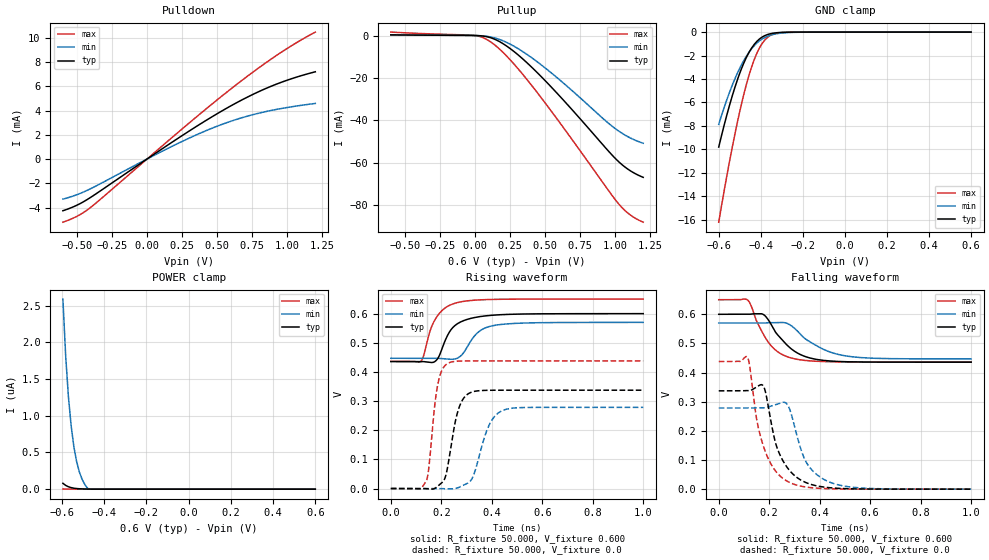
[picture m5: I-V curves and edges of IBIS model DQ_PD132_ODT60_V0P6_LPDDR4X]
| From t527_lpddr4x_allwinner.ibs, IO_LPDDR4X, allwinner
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|   Model DQ_PD132_ODT60_V0P6_LPDDR4X
[Model] DQ_PD132_ODT60_V0P6_LPDDR4X
Model_type I/O
Polarity   Non-Inverting
Enable   Active-Low
Vinl =  0.300V
Vinh =  0.300V
C_comp   1.467pF   1.426pF   1.522pF
C_comp_pulldown   0.762pF   0.731pF   0.798pF
[Model Spec]
Vinh   0.300V   0.285V   0.325V
Vinl   0.300V   0.285V   0.325V
[Temperature Range]   25.000   0.125k   -40.000
[Voltage Range]   0.600V   0.570V   0.650V
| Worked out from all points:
|   slope of the pulldown table from 0 to 0.09 V, typ, clamps not added: 128 ohm
|   slope of the pullup table from 0 to 0.09 V, typ, clamps not added: 138 ohm
|   GND clamp passes 1 mA (typ) near -0.43 V on its own axis
|   rising waveform, R_fixture 50.000, V_fixture 0.600: 20-80 % time 69ps typ, 68.1ps min, 62ps max; typ from 0.436 V to 0.6 V
|   rising waveform, R_fixture 50.000, V_fixture 0.0: 20-80 % time 43.6ps typ, 60.5ps min, 31.9ps max; typ from 0 V to 0.337 V
|   falling waveform, R_fixture 50.000, V_fixture 0.600: 20-80 % time 102ps typ, 129ps min, 84.9ps max; typ from 0.6 V to 0.436 V
|   falling waveform, R_fixture 50.000, V_fixture 0.0: 20-80 % time 78.3ps typ, 82.7ps min, 73ps max; typ from 0.337 V to 0 V
[Pulldown]
|Voltage   I(typ)   I(min)   I(max)
-600mV    -4.265mA   -3.308mA   -5.211mA
-486mV    -3.729mA   -2.88mA    -4.641mA
-391mV    -3.079mA   -2.384mA   -3.889mA
179mV     1.39mA     1.051mA    1.78mA
369mV     2.81mA     2.08mA     3.634mA
521mV     3.878mA    2.799mA    5.073mA
692mV     4.967mA    3.458mA    6.62mA
863mV     5.895mA    3.952mA    8.065mA
1.034V    6.636mA    4.314mA    9.37mA
1.2V      7.196mA    4.583mA    10.47mA
[Pullup]
|Voltage   I(typ)   I(min)   I(max)
-600mV    307.6uA    240.7uA    1.617mA
3mV       -5.669uA   -5.189uA   -28uA
60mV      -277.8uA   -203.6uA   -1.082mA
136mV     -1.634mA   -1.049mA   -4.186mA
193mV     -3.566mA   -2.301mA   -7.507mA
269mV     -7.071mA   -4.717mA   -12.78mA
440mV     -17.26mA   -12.22mA   -26.59mA
630mV     -30.47mA   -22.42mA   -43.44mA
934mV     -53.26mA   -40.42mA   -71.52mA
1.029V    -59.87mA   -45.33mA   -79.87mA
1.105V    -63.78mA   -48.3mA    -84.65mA
1.2V      -67.02mA   -50.92mA   -88.2mA
[GND_clamp]
|Voltage   I(typ)   I(min)   I(max)
-600mV    -9.815mA   -7.875mA   -16.22mA
-561mV    -7.046mA   -5.746mA   -12.23mA
-535mV    -5.403mA   -4.507mA   -9.766mA
-496mV    -3.316mA   -2.935mA   -6.457mA
-470mV    -2.216mA   -2.096mA   -4.569mA
-444mV    -1.371mA   -1.428mA   -2.993mA
-418mV    -778.9uA   -926.6uA   -1.774mA
-392mV    -406.1uA   -573.1uA   -928uA
-366mV    -197uA     -340uA     -421.7uA
-327mV    -60.99uA   -147uA     -102.9uA
-275mV    -11.95uA   -46.19uA   -12.78uA
600mV     -16.32nA   -580.9nA   -530.8pA
[POWER_clamp]
|Voltage   I(typ)   I(min)   I(max)
-596mV    80.11nA    2.59uA     2.718nA
-583mV    51.54nA    1.823uA    1.849nA
-570mV    33.02nA    1.267uA    1.347nA
-557mV    21.05nA    865.5nA    1.054nA
-544mV    13.37nA    578.4nA    882.1pA
-531mV    8.471nA    375.5nA    779.4pA
-518mV    5.383nA    233.4nA    714.2pA
-505mV    3.418nA    134nA      667.8pA
-492mV    2.102nA    63.17nA    630.5pA
-479mV    1.14nA     10.45nA    598.7pA
-466mV    372.9pA    0A         570.6pA
600mV     0A         0A         0A
[Ramp]
| variable   typ   min   max
dV/dt_r   0.202/43.840p   0.167/60.678p   0.263/32.072p
dV/dt_f   98.602m/0.103n   73.831m/0.129n   0.128/85.041p
R_load = 50.000
[Rising Waveform]
R_fixture= 50.000
V_fixture= 0.600
V_fixture_min= 0.570
V_fixture_max= 0.650
|time   V(typ)   V(min)   V(max)
0s        435.6mV    446.9mV    436.2mV
118ps     435.5mV    446.9mV    435.9mV
130ps     435.4mV    447mV      455.5mV
158ps     432.6mV    446.7mV    547.1mV
179ps     438.8mV    446.7mV    584.7mV
230ps     533.7mV    443.9mV    627.3mV
264ps     565.4mV    447.4mV    638mV
344ps     588.6mV    534.6mV    646.9mV
407ps     594.8mV    559.2mV    648.9mV
1ns       599.9mV    570mV      650mV
[Rising Waveform]
R_fixture= 50.000
V_fixture= 0.0
V_fixture_min= 0.0
V_fixture_max= 0.0
|time   V(typ)   V(min)   V(max)
0s        3.206uV    75.67uV    235.5nV
141ps     -692.3uV   185.5uV    27.26mV
185ps     7.298mV    246.5uV    352.4mV
213ps     32.42mV    -747.3uV   420.3mV
228ps     88.07mV    -1.24mV    430.5mV
269ps     274.2mV    3.776mV    437.1mV
319ps     330.4mV    30.23mV    437.8mV
388ps     337.1mV    214.7mV    437.9mV
443ps     337.3mV    267.8mV    437.9mV
1ns       337.3mV    278.4mV    437.9mV
[Falling Waveform]
R_fixture= 50.000
V_fixture= 0.600
V_fixture_min= 0.570
V_fixture_max= 0.650
|time   V(typ)   V(min)   V(max)
0s        600mV      570mV      650mV
114ps     600.1mV    570mV      649.3mV
173ps     600.9mV    570.1mV    537.6mV
200ps     576.3mV    571.1mV    500.1mV
230ps     533mV      571.4mV    473.8mV
293ps     477.6mV    557.2mV    448.7mV
342ps     455.2mV    516.5mV    441.7mV
392ps     444.6mV    490mV      438.6mV
498ps     437.4mV    458mV      436.6mV
1ns       435.7mV    447mV      436.2mV
[Falling Waveform]
R_fixture= 50.000
V_fixture= 0.0
V_fixture_min= 0.0
V_fixture_max= 0.0
|time   V(typ)   V(min)   V(max)
0s        337.3mV    278.4mV    437.9mV
114ps     338.2mV    278.4mV    452.2mV
123ps     337.9mV    278.4mV    420.2mV
150ps     350.4mV    278.9mV    240.8mV
175ps     355.9mV    279.1mV    153mV
227ps     153mV      290.3mV    60.2mV
277ps     67.89mV    282.8mV    24.57mV
345ps     22.75mV    95.29mV    7.355mV
430ps     5.815mV    27.65mV    1.597mV
1ns       3.816uV    83.24uV    294.9nV
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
